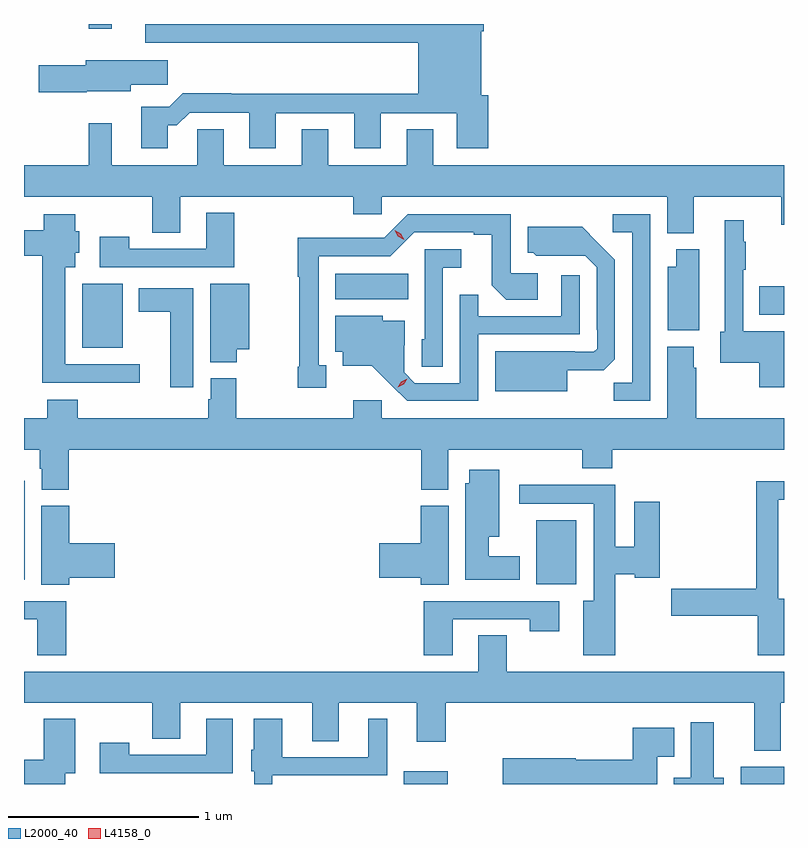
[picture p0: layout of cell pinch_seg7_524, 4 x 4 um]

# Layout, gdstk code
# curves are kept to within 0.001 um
import gdstk
lib = gdstk.Library(unit=1e-6, precision=1e-09)
def R(c, l, rs):  # rectangles x0, y0, x1, y1
    for r in rs: c.add(gdstk.rectangle(r[:2], r[2:], *l))
def P(c, l, *ps):  # polygons
    for p in ps: c.add(gdstk.Polygon(p, *l))
L2000_40 = (2000, 40)
L4158_0 = (4158, 0)

pinch_seg7_524 = lib.new_cell('pinch_seg7_524')
R(pinch_seg7_524, L2000_40, [(132.626,1058.796,132.856,1058.863), (134.399,1058.796,134.627,1058.887), (133.322,1059.848,133.534,1060.183), (130.627,1059.872,130.63,1060.393), (130.934,1061.093,131.146,1061.428), (134.497,1061.267,134.627,1061.415), (132.266,1061.348,132.65,1061.482), (130.968,1062.771,131.089,1062.796)])
P(pinch_seg7_524, L2000_40, [(131.383,1062.263),(131.432,1062.263),(131.499,1062.33),(131.813,1062.33),(131.813,1062.141),(131.953,1062.141),(131.953,1062.327),(132.365,1062.327),(132.365,1062.141),(132.505,1062.141),(132.505,1062.327),(132.905,1062.327),(132.905,1062.141),(133.07,1062.141),(133.07,1062.42),(133.033,1062.42),(133.033,1062.758),(133.046,1062.758),(133.046,1062.796),(131.264,1062.796),(131.264,1062.698),(132.701,1062.698),(132.701,1062.428),(131.717,1062.428),(131.717,1062.431),(131.462,1062.431),(131.392,1062.361),(131.243,1062.361),(131.243,1062.141),(131.383,1062.141)],
  [(130.956,1062.443),(131.188,1062.443),(131.188,1062.475),(131.383,1062.475),(131.383,1062.604),(130.952,1062.604),(130.952,1062.578),(130.704,1062.578),(130.704,1062.436),(130.956,1062.436)],
  [(134.152,1061.888),(134.612,1061.888),(134.612,1061.739),(134.627,1061.739),(134.627,1062.052),(132.781,1062.052),(132.781,1062.242),(132.641,1062.242),(132.641,1062.052),(132.229,1062.052),(132.229,1062.242),(132.089,1062.242),(132.089,1062.052),(131.677,1062.052),(131.677,1062.242),(131.538,1062.242),(131.538,1062.052),(131.089,1062.052),(131.089,1062.274),(130.968,1062.274),(130.968,1062.052),(130.627,1062.052),(130.627,1061.888),(131.302,1061.888),(131.302,1061.698),(131.449,1061.698),(131.449,1061.888),(132.359,1061.888),(132.359,1061.795),(132.51,1061.795),(132.51,1061.888),(134.012,1061.888),(134.012,1061.696),(134.152,1061.696)],
  [(131.733,1061.803),(131.585,1061.803),(131.585,1061.613),(131.181,1061.613),(131.181,1061.677),(131.025,1061.677),(131.025,1061.517),(131.733,1061.517)],
  [(132.217,1061.001),(132.178,1061.001),(132.178,1061.574),(132.555,1061.574),(132.681,1061.7),(132.995,1061.7),(132.995,1061.688),(133.089,1061.688),(133.089,1061.42),(133.165,1061.344),(133.33,1061.344),(133.33,1061.484),(133.188,1061.484),(133.188,1061.796),(132.648,1061.796),(132.522,1061.67),(132.3,1061.67),(132.3,1061.672),(132.067,1061.672),(132.067,1061.467),(132.075,1061.467),(132.075,1060.993),(132.067,1060.993),(132.067,1060.881),(132.217,1060.881)],
  [(133.923,1061.796),(133.725,1061.796),(133.725,1061.7),(133.827,1061.7),(133.827,1060.907),(133.732,1060.907),(133.732,1060.812),(133.923,1060.812)],
  [(131.236,1061.004),(130.843,1061.004),(130.843,1061.516),(130.897,1061.516),(130.897,1061.592),(130.918,1061.592),(130.918,1061.706),(130.897,1061.706),(130.897,1061.794),(130.73,1061.794),(130.73,1061.71),(130.627,1061.71),(130.627,1061.576),(130.723,1061.576),(130.723,1060.907),(131.236,1060.907)],
  [(134.627,1061.179),(134.412,1061.179),(134.412,1061.503),(134.425,1061.503),(134.425,1061.651),(134.414,1061.651),(134.414,1061.764),(134.315,1061.764),(134.315,1061.175),(134.291,1061.175),(134.291,1061.014),(134.497,1061.014),(134.497,1060.884),(134.627,1060.884)],
  [(133.486,1060.973),(133.678,1060.973),(133.737,1061.032),(133.737,1061.554),(133.565,1061.728),(133.277,1061.728),(133.277,1061.592),(133.308,1061.592),(133.324,1061.576),(133.581,1061.577),(133.641,1061.517),(133.641,1061.188),(133.644,1061.188),(133.644,1061.088),(133.626,1061.07),(133.526,1061.07),(133.526,1061.074),(133.106,1061.074),(133.106,1060.862),(133.486,1060.862)],
  [(134.182,1061.611),(134.06,1061.611),(134.06,1061.518),(134.015,1061.518),(134.015,1061.183),(134.182,1061.183)],
  [(132.831,1061.513),(132.928,1061.513),(132.928,1061.61),(132.735,1061.61),(132.735,1061.136),(132.72,1061.136),(132.72,1060.993),(132.831,1060.993)],
  [(133.017,1061.163),(133.551,1061.163),(133.551,1061.473),(133.455,1061.473),(133.455,1061.259),(133.019,1061.259),(133.019,1061.372),(132.921,1061.372),(132.921,1060.905),(132.684,1060.905),(132.627,1060.962),(132.627,1061.104),(132.631,1061.104),(132.631,1061.233),(132.516,1061.233),(132.516,1061.26),(132.266,1061.26),(132.266,1061.072),(132.305,1061.072),(132.305,1060.997),(132.457,1060.997),(132.644,1060.812),(133.017,1060.812)],
  [(131.748,1061.084),(131.812,1061.084),(131.812,1061.428),(131.606,1061.428),(131.606,1061.017),(131.748,1061.017)],
  [(131.518,1061.404),(131.231,1061.404),(131.231,1061.282),(131.396,1061.282),(131.396,1060.884),(131.518,1060.884)],
  [(132.719,1060.345),(132.859,1060.345),(132.859,1060.556),(133.564,1060.556),(133.564,1060.457),(133.724,1060.457),(133.724,1060.556),(134.627,1060.556),(134.627,1060.72),(134.165,1060.72),(134.165,1060.988),(134.152,1060.988),(134.152,1061.098),(134.012,1061.098),(134.012,1060.72),(132.51,1060.72),(132.51,1060.816),(132.359,1060.816),(132.359,1060.72),(131.745,1060.72),(131.745,1060.932),(131.609,1060.932),(131.609,1060.821),(131.597,1060.821),(131.597,1060.72),(130.91,1060.72),(130.91,1060.819),(130.75,1060.819),(130.75,1060.72),(130.627,1060.72),(130.627,1060.556),(130.709,1060.556),(130.709,1060.455),(130.721,1060.455),(130.721,1060.345),(130.862,1060.345),(130.862,1060.556),(132.719,1060.556)],
  [(133.237,1059.994),(133.072,1059.994),(133.072,1060.097),(133.129,1060.097),(133.129,1060.45),(132.971,1060.45),(132.971,1060.38),(132.95,1060.38),(132.95,1059.872),(133.237,1059.872)],
  [(134.627,1059.771),(134.598,1059.771),(134.598,1060.293),(134.627,1060.293),(134.627,1060.39),(134.482,1060.39),(134.482,1059.824),(134.034,1059.824),(134.034,1059.682),(134.489,1059.682),(134.489,1059.474),(134.627,1059.474)],
  [(133.738,1059.899),(133.842,1059.899),(133.842,1059.881),(133.973,1059.881),(133.973,1060.282),(133.838,1060.282),(133.838,1060.046),(133.738,1060.046),(133.738,1060.37),(133.233,1060.37),(133.233,1060.272),(133.625,1060.272),(133.625,1059.76),(133.571,1059.76),(133.571,1059.474),(133.738,1059.474)],
  [(130.864,1059.881),(131.104,1059.881),(131.104,1060.064),(130.864,1060.064),(130.864,1060.26),(130.718,1060.26),(130.718,1059.844),(130.864,1059.844)],
  [(132.862,1060.26),(132.716,1060.26),(132.716,1060.064),(132.498,1060.064),(132.498,1059.881),(132.716,1059.881),(132.716,1059.844),(132.862,1059.844)],
  [(130.85,1059.759),(130.627,1059.759),(130.627,1059.663),(130.697,1059.663),(130.697,1059.474),(130.85,1059.474)],
  [(132.883,1059.663),(133.288,1059.663),(133.288,1059.6),(133.444,1059.6),(133.444,1059.759),(132.731,1059.759),(132.731,1059.474),(132.883,1059.474)],
  [(134.611,1059.224),(134.627,1059.224),(134.627,1059.388),(133.167,1059.388),(133.167,1059.578),(133.019,1059.578),(133.019,1059.388),(130.627,1059.388),(130.627,1059.224),(131.302,1059.224),(131.302,1059.034),(131.449,1059.034),(131.449,1059.224),(132.143,1059.224),(132.143,1059.022),(132.283,1059.022),(132.283,1059.224),(132.695,1059.224),(132.695,1059.018),(132.848,1059.018),(132.848,1059.224),(134.471,1059.224),(134.471,1058.972),(134.611,1058.972)],
  [(131.934,1058.841),(132.538,1058.841),(132.538,1059.139),(132.44,1059.139),(132.44,1058.937),(131.986,1058.937),(131.986,1059.139),(131.837,1059.139),(131.837,1058.976),(131.822,1058.976),(131.822,1058.862),(131.838,1058.862),(131.838,1058.796),(131.934,1058.796)],
  [(131.725,1059.139),(131.585,1059.139),(131.585,1058.949),(131.181,1058.949),(131.181,1059.013),(131.025,1059.013),(131.025,1058.853),(131.725,1058.853)],
  [(130.843,1058.852),(130.897,1058.852),(130.897,1059.139),(130.73,1059.139),(130.73,1058.923),(130.627,1058.923),(130.627,1058.796),(130.843,1058.796)],
  [(134.311,1058.83),(134.257,1058.83),(134.257,1059.121),(134.135,1059.121),(134.135,1058.83),(134.048,1058.83),(134.048,1058.796),(134.311,1058.796)],
  [(133.96,1058.939),(134.05,1058.939),(134.05,1059.091),(133.831,1059.091),(133.831,1058.923),(133.53,1058.923),(133.53,1058.931),(133.146,1058.931),(133.146,1058.796),(133.96,1058.796)])
P(pinch_seg7_524, L4158_0, [(132.627,1061.66),(132.595,1061.678),(132.577,1061.71),(132.577,1061.711),(132.578,1061.711),(132.609,1061.692),(132.627,1061.66),(132.627,1061.66)],
  [(132.594,1060.884),(132.594,1060.885),(132.612,1060.914),(132.644,1060.929),(132.644,1060.929),(132.644,1060.929),(132.626,1060.899),(132.595,1060.884)])

lib.write_gds('pinch_seg7_524.gds')
